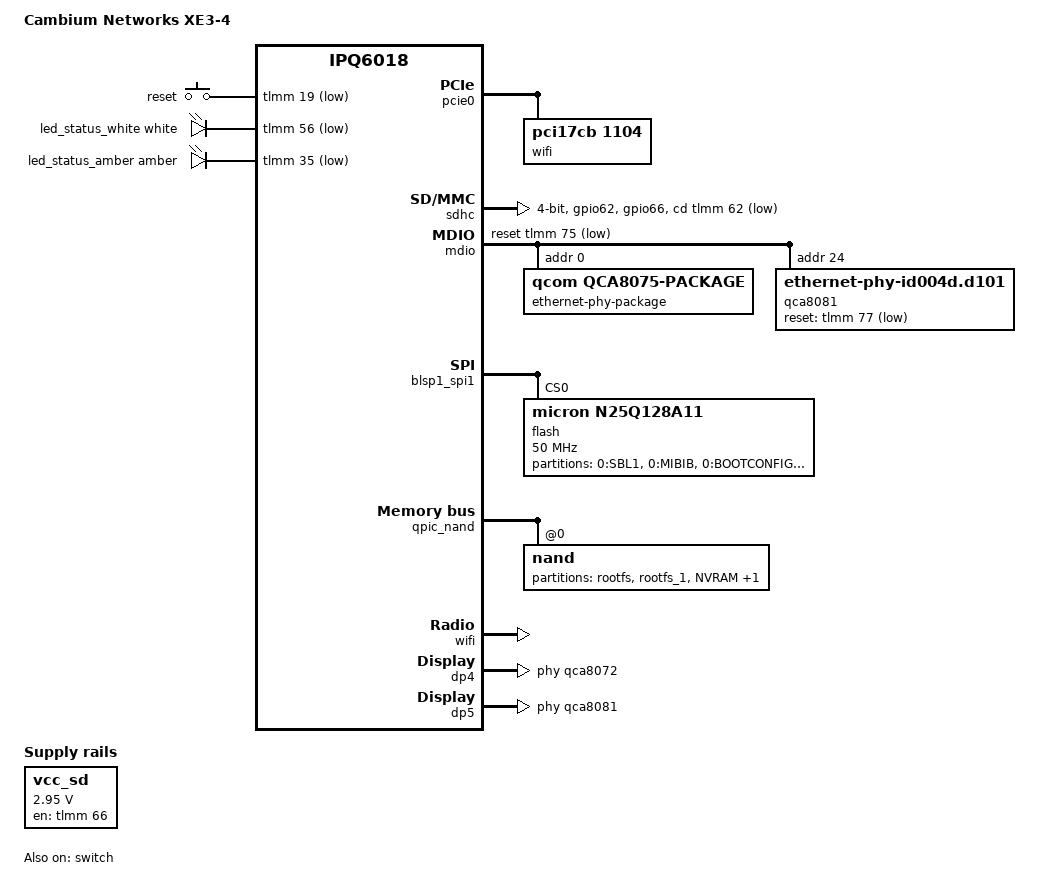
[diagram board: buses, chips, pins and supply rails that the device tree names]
// SPDX-License-Identifier: GPL-2.0-or-later OR MIT

/dts-v1/;

#include "ipq6018.dtsi"
#include "ipq6018-ess.dtsi"
#include "ipq6018-nss.dtsi"
#include "ipq6018-common.dtsi"

#include <dt-bindings/gpio/gpio.h>
#include <dt-bindings/input/input.h>
#include <dt-bindings/leds/common.h>

/ {
	model = "Cambium Networks XE3-4";
	compatible = "cambiumnetworks,xe3-4", "qcom,ipq6018";

	aliases {
		serial0 = &blsp1_uart3;

		led-boot = &led_status_amber;
		led-failsafe = &led_status_amber;
		led-running = &led_status_white;
		led-upgrade = &led_status_amber;

		ethernet0 = &dp5;
		ethernet1 = &dp4;

		label-mac-device = &dp5;
	};

	chosen {
		stdout-path = "serial0:115200n8";
		bootargs-append = " root=/dev/ubiblock0_1";
	};

	keys {
		compatible = "gpio-keys";

		reset {
			label = "reset";
			gpios = <&tlmm 19 GPIO_ACTIVE_LOW>;
			linux,code = <KEY_RESTART>;
		};
	};

	leds {
		compatible = "gpio-leds";

		led_status_white: status-white {
			color = <LED_COLOR_ID_WHITE>;
			function = LED_FUNCTION_STATUS;
			gpios = <&tlmm 56 GPIO_ACTIVE_LOW>;
		};

		led_status_amber: status-amber {
			color = <LED_COLOR_ID_AMBER>;
			function = LED_FUNCTION_STATUS;
			gpios = <&tlmm 35 GPIO_ACTIVE_LOW>;
		};
	};

	vcc_sd: regulator-vcc-sd {
		compatible = "regulator-fixed";
		regulator-name = "vcc_sd";
		regulator-min-microvolt = <2950000>;
		regulator-max-microvolt = <2950000>;
		gpios = <&tlmm 66 GPIO_ACTIVE_HIGH>;
		enable-active-high;
		regulator-always-on;
	};
};

&tlmm {
	sd_pins: sd-pins {
		data {
			pins = "gpio62";
			function = "sd_card";
			drive-strength = <8>;
			bias-pull-up;
		};

		power {
			pins = "gpio66";
			function = "gpio";
			drive-strength = <8>;
			bias-pull-up;
		};
	};
};

&pcie0 {
	status = "okay";
	perst-gpios = <&tlmm 60 GPIO_ACTIVE_LOW>;

	pcie@0 {
		wifi@0,0 {
			status = "okay";
			compatible = "pci17cb,1104";
			qcom,ath11k-fw-memory-mode = <1>;
			qcom,ath11k-calibration-variant = "CambiumNetworks-XE34";
			reg = <0x00010000 0 0 0 0>;
		};
	};
};

&sdhc {
	status = "okay";

	pinctrl-0 = <&sd_pins>;
	pinctrl-names = "default";

	cd-gpios = <&tlmm 62 GPIO_ACTIVE_LOW>;
	vqmmc-supply = <&vcc_sd>;
	bus-width = <4>;
};

&switch {
	status = "okay";

	switch_lan_bmp = <(ESS_PORT4 | ESS_PORT5)>;
	switch_mac_mode = <MAC_MODE_PSGMII>;
	switch_mac_mode2 = <MAC_MODE_SGMII_PLUS>;

	qcom,port_phyinfo {
		port@4 {
			port_id = <4>;
			phy_address = <3>;
		};

		port@5 {
			port_id = <5>;
			phy_address = <24>;
			port_mac_sel = "QGMAC_PORT";
		};
	};
};

&mdio {
	status = "okay";

	pinctrl-0 = <&mdio_pins>;
	pinctrl-names = "default";
	reset-gpios = <&tlmm 75 GPIO_ACTIVE_LOW>;

	ethernet-phy-package@0 {
		compatible = "qcom,qca8075-package";
		#address-cells = <1>;
		#size-cells = <0>;
		reg = <0>;

		qca8072: ethernet-phy@3 {
			compatible = "ethernet-phy-ieee802.3-c22";
			reg = <3>;
		};
	};

	qca8081: ethernet-phy@24 {
		compatible = "ethernet-phy-id004d.d101";
		reg = <24>;
		reset-deassert-us = <10000>;
		reset-gpios = <&tlmm 77 GPIO_ACTIVE_LOW>;
	};
};

&blsp1_spi1 {
	status = "okay";

	flash@0 {
		compatible = "micron,n25q128a11", "jedec,spi-nor";
		linux,modalias = "m25p80", "mx30uf2g18ac", "n25q128a11";
		spi-max-frequency = <50000000>;
		reg = <0>;

		partitions {
			compatible = "fixed-partitions";
			#address-cells = <1>;
			#size-cells = <1>;

			partition@0 {
				label = "0:SBL1";
				reg = <0x00000000 0x000c0000>;
				read-only;
			};

			partition@c0000 {
				label = "0:MIBIB";
				reg = <0x000c0000 0x00010000>;
				read-only;
			};

			partition@d0000 {
				label = "0:BOOTCONFIG";
				reg = <0x000d0000 0x00020000>;
				read-only;
			};

			partition@f0000 {
				label = "0:BOOTCONFIG1";
				reg = <0x000f0000 0x00020000>;
				read-only;
			};

			partition@110000 {
				label = "0:QSEE";
				reg = <0x00110000 0x001a0000>;
				read-only;
			};

			partition@2b0000 {
				label = "0:QSEE_1";
				reg = <0x002b0000 0x001a0000>;
				read-only;
			};

			partition@450000 {
				label = "0:DEVCFG";
				reg = <0x00450000 0x00010000>;
				read-only;
			};

			partition@460000 {
				label = "mfginfo";
				reg = <0x00460000 0x00010000>;
				read-only;
			};

			partition@470000 {
				label = "0:RPM";
				reg = <0x00470000 0x00040000>;
				read-only;
			};

			partition@4b0000 {
				label = "0:RPM_1";
				reg = <0x004b0000 0x00040000>;
				read-only;
			};

			partition@4f0000 {
				label = "0:CDT";
				reg = <0x004f0000 0x00010000>;
				read-only;
			};

			partition@500000 {
				label = "0:CDT_1";
				reg = <0x00500000 0x00010000>;
				read-only;
			};

			partition@510000 {
				label = "0:APPSBLENV";
				reg = <0x00510000 0x00010000>;

				nvmem-layout {
					compatible = "u-boot,env";
					#address-cells = <1>;
					#size-cells = <1>;

					ethaddr: ethaddr {
						#nvmem-cell-cells = <0>;
					};

					eth1addr: eth1addr {
						#nvmem-cell-cells = <0>;
					};

					eth2addr: eth2addr {
						#nvmem-cell-cells = <0>;
					};

					eth5addr: eth5addr {
						#nvmem-cell-cells = <0>;
					};
				};
			};

			partition@520000 {
				label = "0:APPSBL";
				reg = <0x00520000 0x000a0000>;
				read-only;
			};

			partition@5c0000 {
				label = "0:APPSBL_1";
				reg = <0x005c0000 0x000a0000>;
				read-only;
			};

			partition@660000 {
				label = "0:ART";
				reg = <0x00660000 0x00080000>;
				read-only;
			};
		};
	};
};

&qpic_nand {
	status = "okay";

	partitions {
		status = "disabled";
	};

	nand@0 {
		reg = <0>;

		nand-ecc-strength = <4>;
		nand-ecc-step-size = <512>;
		nand-bus-width = <8>;

		partitions {
			compatible = "fixed-partitions";
			#address-cells = <1>;
			#size-cells = <1>;

			partition@0 {
				label = "rootfs";
				reg = <0x00000000 0x06000000>;
			};

			partition@6000000 {
				label = "rootfs_1";
				reg = <0x06000000 0x06000000>;
			};

			partition@c000000 {
				label = "NVRAM";
				reg = <0x0c000000 0x03000000>;
			};

			partition@f000000 {
				label = "crashLog";
				reg = <0x0f000000 0x01000000>;
			};
		};
	};
};

&wifi {
	status = "okay";
	qcom,ath11k-fw-memory-mode = <1>;
	qcom,ath11k-calibration-variant = "CambiumNetworks-XE34";
	nvmem-cell-names = "mac-address";
	nvmem-cells = <&eth2addr>;
};

&dp4 {
	status = "okay";
	phy-handle = <&qca8072>;
	label = "lan2";
	nvmem-cell-names = "mac-address";
	nvmem-cells = <&eth1addr 0>;
};

&dp5 {
	status = "okay";
	phy-handle = <&qca8081>;
	label = "lan1";
	nvmem-cell-names = "mac-address";
	nvmem-cells = <&ethaddr 0>;
};

&edma {
	status = "okay";
};
